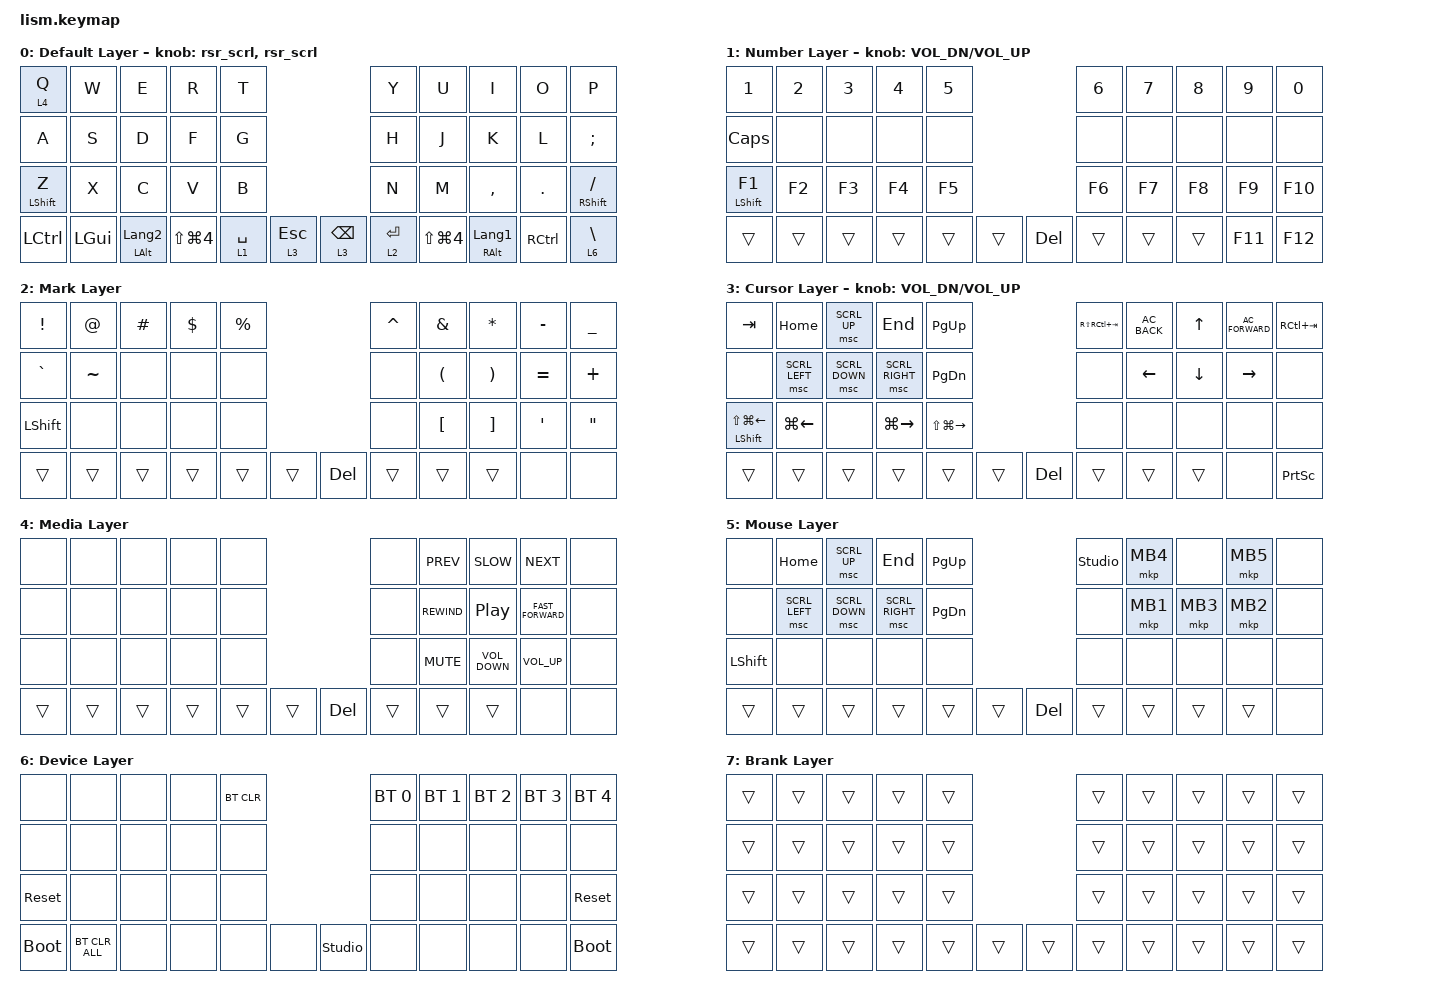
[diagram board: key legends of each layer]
#define ZMK_POINTING_DEFAULT_SCRL_VAL 200

#include <dt-bindings/zmk/mouse.h>
#include <behaviors/runtime-sensor-rotate.dtsi>
#include <behaviors.dtsi>
#include <dt-bindings/zmk/bt.h>
#include <dt-bindings/zmk/keys.h>
#include <dt-bindings/zmk/pointing.h>

&mt {
    tapping-term-ms = <300>;
    flavor = "balanced";
};

&lt { quick-tap-ms = <300>; };

/ {
    macros {
        emoji: emoji_macro {
            compatible = "zmk,behavior-macro";
            label = "EMOJI";
            #binding-cells = <0>;
            bindings =
                <&macro_press>,
                <&kp CAPSLOCK>,
                <&macro_tap>,
                <&kp E>,
                <&macro_release>,
                <&kp CAPSLOCK>;
        };
    };

    behaviors {
        encoder_kp: sensor_rotate_kp {
            compatible = "zmk,behavior-sensor-rotate-var";
            #sensor-binding-cells = <2>;
            bindings = <&kp>, <&kp>;
        };

        rsr_scrl: rsr_scrl {
            compatible = "zmk,behavior-runtime-sensor-rotate";
            #sensor-binding-cells = <0>;
            tap-ms = <20>;
            cw-binding = <&msc SCRL_DOWN>;
            ccw-binding = <&msc SCRL_UP>;
        };
    };

    combos { compatible = "zmk,combos"; };

    keymap {
        compatible = "zmk,keymap";

        default_layer {
            display-name = "Default Layer";
            bindings = <
&lt 4 Q           &kp W         &kp E                    &kp R           &kp T                                      &kp Y        &kp U           &kp I                     &kp O              &kp P
&kp A             &kp S         &kp D                    &kp F           &kp G                                      &kp H        &kp J           &kp K                     &kp L              &kp SEMICOLON
&mt LEFT_SHIFT Z  &kp X         &kp C                    &kp V           &kp B                                      &kp N        &kp M           &kp COMMA                 &kp DOT            &mt RIGHT_SHIFT SLASH
&kp LEFT_CONTROL  &kp LEFT_GUI  &mt LEFT_ALT LANGUAGE_2  &kp LS(LG(N4))  &lt 1 SPACE  &lt 3 ESC    &lt 3 BACKSPACE  &lt 2 ENTER  &kp LS(LG(N4))  &mt RIGHT_ALT LANGUAGE_1  &kp RIGHT_CONTROL  &lt 6 BACKSLASH
            >;

            sensor-bindings = <&rsr_scrl &rsr_scrl>;
        };

        layer_1 {
            display-name = "Number Layer";
            bindings = <
&kp NUMBER_1       &kp NUMBER_2  &kp NUMBER_3  &kp NUMBER_4  &kp NUMBER_5                        &kp NUMBER_6  &kp NUMBER_7  &kp NUMBER_8  &kp NUMBER_9  &kp NUMBER_0
&kp CAPSLOCK       &none         &none         &none         &none                               &none         &none         &none         &none         &none
&mt LEFT_SHIFT F1  &kp F2        &kp F3        &kp F4        &kp F5                              &kp F6        &kp F7        &kp F8        &kp F9        &kp F10
&trans             &trans        &trans        &trans        &trans        &trans    &kp DELETE  &trans        &trans        &trans        &kp F11       &kp F12
            >;

            sensor-bindings = <&encoder_kp C_VOL_DN C_VOL_UP>;
            label = "Number Layer";
        };

        layer_2 {
            display-name = "Mark Layer";
            bindings = <
&kp EXCLAMATION  &kp AT_SIGN  &kp HASH  &kp DOLLAR  &kp PERCENT                        &kp CARET  &kp AMPERSAND         &kp ASTERISK           &kp MINUS         &kp UNDERSCORE
&kp GRAVE        &kp TILDE    &none     &none       &none                              &none      &kp LEFT_PARENTHESIS  &kp RIGHT_PARENTHESIS  &kp EQUAL         &kp PLUS
&kp LEFT_SHIFT   &none        &none     &none       &none                              &none      &kp LEFT_BRACKET      &kp RIGHT_BRACKET      &kp SINGLE_QUOTE  &kp DOUBLE_QUOTES
&trans           &trans       &trans    &trans      &trans       &trans    &kp DELETE  &trans     &trans                &trans                 &none             &none
            >;

            label = "Mark Layer";
        };

        layer_3 {
            display-name = "Cursor Layer";
            bindings = <
&kp TAB                            &kp HOME            &msc SCRL_UP    &kp END              &kp PAGE_UP                                    &kp RS(RC(TAB))  &kp C_AC_BACK   &kp UP_ARROW    &kp C_AC_FORWARD  &kp RC(TAB)
&none                              &msc SCRL_LEFT      &msc SCRL_DOWN  &msc SCRL_RIGHT      &kp PAGE_DOWN                                  &none            &kp LEFT_ARROW  &kp DOWN_ARROW  &kp RIGHT_ARROW   &none
&mt LEFT_SHIFT LS(LG(LEFT_ARROW))  &kp LG(LEFT_ARROW)  &none           &kp LG(RIGHT_ARROW)  &kp LS(LG(RIGHT_ARROW))                        &none            &none           &none           &none             &none
&trans                             &trans              &trans          &trans               &trans                   &trans    &kp DELETE  &trans           &trans          &trans          &none             &kp PRINTSCREEN
            >;

            sensor-bindings = <&encoder_kp C_VOL_DN C_VOL_UP>;
            label = "Cursor Layer";
        };

        layer_4 {
            display-name = "Media Layer";
            bindings = <
&none   &none   &none   &none   &none                         &none   &kp C_PREV    &kp C_SLOW         &kp C_NEXT          &none
&none   &none   &none   &none   &none                         &none   &kp C_REWIND  &kp C_PLAY_PAUSE   &kp C_FAST_FORWARD  &none
&none   &none   &none   &none   &none                         &none   &kp C_MUTE    &kp C_VOLUME_DOWN  &kp C_VOL_UP        &none
&trans  &trans  &trans  &trans  &trans  &trans    &kp DELETE  &trans  &trans        &trans             &none               &none
            >;

            label = "Media Layer";
        };

        layer_5 {
            display-name = "Mouse Layer";
            bindings = <
&none           &kp HOME        &msc SCRL_UP    &kp END          &kp PAGE_UP                          &studio_unlock  &mkp MB4  &none     &mkp MB5  &none
&none           &msc SCRL_LEFT  &msc SCRL_DOWN  &msc SCRL_RIGHT  &kp PAGE_DOWN                        &none           &mkp MB1  &mkp MB3  &mkp MB2  &none
&kp LEFT_SHIFT  &none           &none           &none            &none                                &none           &none     &none     &none     &none
&trans          &trans          &trans          &trans           &trans         &trans    &kp DELETE  &trans          &trans    &trans    &trans    &none
            >;

            label = "Mouse Layer";
        };

        layer_6 {
            display-name = "Device Layer";
            bindings = <
&none        &none           &none  &none  &bt BT_CLR                           &bt BT_SEL 0  &bt BT_SEL 1  &bt BT_SEL 2  &bt BT_SEL 3  &bt BT_SEL 4
&none        &none           &none  &none  &none                                &none         &none         &none         &none         &none
&sys_reset   &none           &none  &none  &none                                &none         &none         &none         &none         &sys_reset
&bootloader  &bt BT_CLR_ALL  &none  &none  &none       &none    &studio_unlock  &none         &none         &none         &none         &bootloader
            >;

            label = "Device Layer";
        };

        layer_7 {
            display-name = "Brank Layer";
            bindings = <
&trans  &trans  &trans  &trans  &trans                    &trans  &trans  &trans  &trans  &trans
&trans  &trans  &trans  &trans  &trans                    &trans  &trans  &trans  &trans  &trans
&trans  &trans  &trans  &trans  &trans                    &trans  &trans  &trans  &trans  &trans
&trans  &trans  &trans  &trans  &trans  &trans    &trans  &trans  &trans  &trans  &trans  &trans
            >;
        };
    };
};
